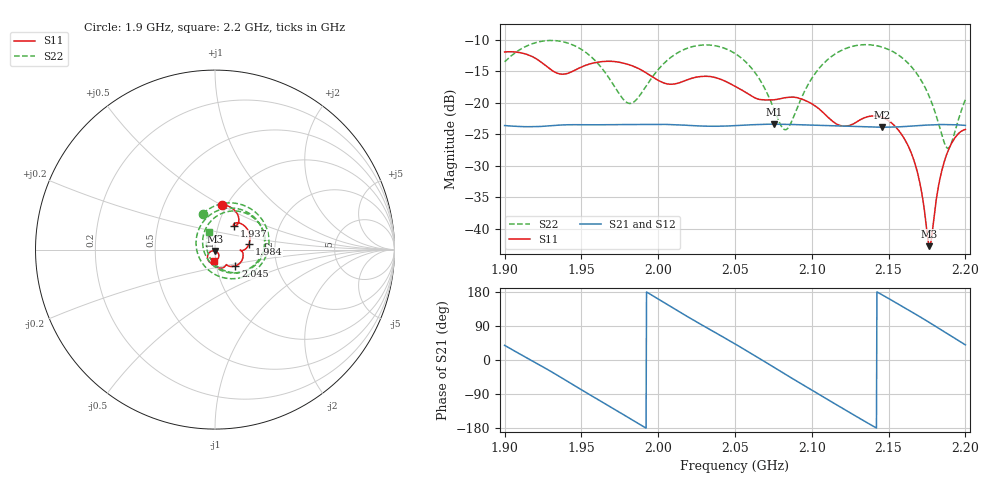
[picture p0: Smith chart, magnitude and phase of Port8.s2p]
# Hz S RI R 50
! CMT, CMT808U, 21440046, 21.4.3/4
! Date: 3/28/2026 5:00:51 PM
! Data: Format (Calibration Info)
! Freq	S11:Re/Im(F2)	S41:Re/Im(F2)	S14:Re/Im(F2)	S44:Re/Im(F2)
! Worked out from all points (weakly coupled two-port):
!   1001 points, 1.9 GHz to 2.2 GHz, reference 50 ohm
!   highest |S21| = -23.41 dB at 2.075 GHz (marker M1); lowest = -23.9 dB at 2.146 GHz (marker M2)
!   lowest |S11| = -42.8 dB at 2.177 GHz (marker M3), VSWR 1.01, Z = 49.8 - j0.699 ohm
!   |S11| at or under -10 dB: start of sweep to end of sweep
!   |S22| runs from -27.2 to -10.1 dB; largest |S21 - S12| = 0.00041
!   S11 on the Smith chart (normalised r, x): 1.9 GHz: 0.95, +0.51; 1.937 GHz: 1.19, +0.32; 1.984 GHz: 1.47, +0.10; 2.045 GHz: 1.23, -0.23; 2.2 GHz: 0.99, -0.12
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1.9e9  0.0403 0.2495  0.0514 0.0412  0.0511 0.0413  -0.0684 0.1997
1.9171e9  0.1239 0.1996  0.0644 -0.000376  0.0643 -7.24e-05  0.1483 0.2504
1.9369e9  0.1057 0.1311  0.0458 -0.0482  0.0459 -0.0479  0.3002 0.0612
1.9501e9  0.1208 0.1495  0.013 -0.0656  0.0133 -0.0654  0.2466 -0.095
1.9666e9  0.1788 0.1158  -0.0317 -0.0588  -0.0314 -0.0589  0.052 -0.1577
1.9843e9  0.1906 0.0338  -0.0634 -0.0219  -0.0632 -0.0222  -0.1015 -0.00369
2.0002e9  0.1498 -0.00573  -0.0634 0.0225  -0.0634 0.0222  -0.0447 0.1788
2.0191e9  0.1517 -0.0114  -0.0273 0.0602  -0.0276 0.06  0.1626 0.2168
2.0449e9  0.1138 -0.0908  0.038 0.0531  0.0377 0.0532  0.2642 -0.0193
2.05e9  0.0968 -0.0939  0.0485 0.0444  0.0482 0.0446  0.2365 -0.0668
2.0638e9  0.0661 -0.0855  0.0661 0.0108  0.066 0.0111  0.1062 -0.1305
2.0752e9  0.0609 -0.086  0.0639 -0.0218  0.064 -0.0215  -0.0087 -0.0896
2.0839e9  0.0522 -0.0967  0.0512 -0.0436  0.0514 -0.0433  -0.0608 -0.0109
2.1001e9  0.0101 -0.0974  0.0118 -0.0652  0.0121 -0.0651  -0.027 0.1543
2.1193e9  1.13e-06 -0.0655  -0.0382 -0.0529  -0.0379 -0.0531  0.1557 0.2082
2.1457e9  -0.0287 -0.0711  -0.0632 0.00871  -0.0632 0.00835  0.2765 0.000111
2.1502e9  -0.0372 -0.0613  -0.0607 0.0199  -0.0607 0.0197  0.2603 -0.0416
2.1661e9  -0.0318 -0.0168  -0.037 0.0538  -0.0373 0.0536  0.1336 -0.1279
2.1766e9  -0.00186 -0.00702  -0.0102 0.0657  -0.0106 0.0657  0.0312 -0.1066
2.1832e9  0.016 -0.018  0.00898 0.0664  0.00862 0.0664  -0.0181 -0.0613
2.1886e9  0.0217 -0.0349  0.0244 0.0624  0.0241 0.0625  -0.0419 -0.0119
2.2e9  -0.00295 -0.0612  0.0507 0.0423  0.0504 0.0426  -0.0326 0.1008
